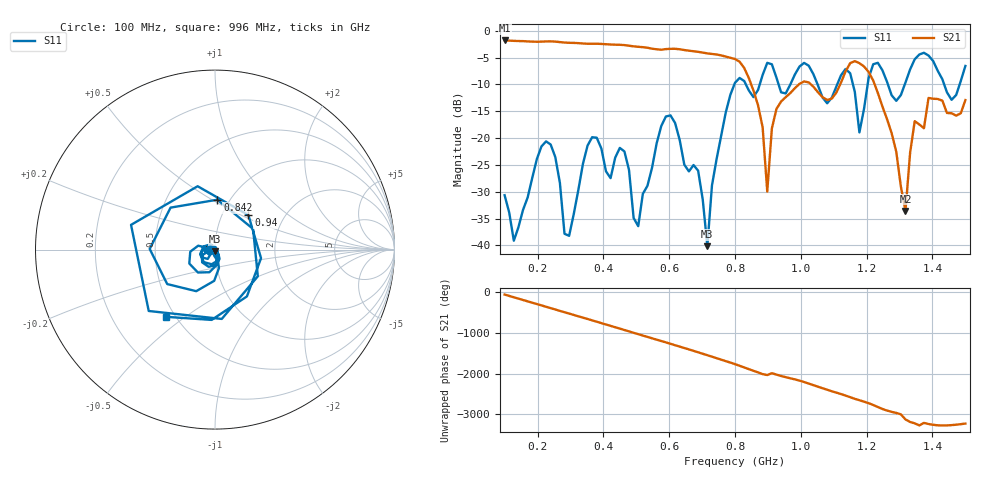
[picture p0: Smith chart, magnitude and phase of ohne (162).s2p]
! NanoVNA-App
! Date: 2025-09-25 14:22:03
! Start: 100MHz Stop: 1,5GHz Points: 101
! S-Parameter data: F S11 S21 S12 S22
# Hz S RI R 50
!  Frequency  S11_Real  S11_Imag  S21_Real  S21_Imag  S12_Real  S12_Imag  S22_Real  S22_Imag
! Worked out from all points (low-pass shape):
!   101 points, 100 MHz to 1.5 GHz, reference 50 ohm
!   highest |S21| = -1.79 dB at 100 MHz (marker M1); lowest = -33.5 dB at 1.318 GHz (marker M2)
!   |S21| within 3 dB of the highest: start of sweep to 771.8 MHz
!   lowest |S11| = -40.1 dB at 716 MHz (marker M3), VSWR 1.02, Z = 49.8 - j0.967 ohm
!   |S11| at or under -10 dB: start of sweep to 798 MHz; 833.1 MHz to 875.1 MHz (41.96 MHz wide, 4.91 % of centre); 1.051 GHz to 1.111 GHz (59.57 MHz wide, 5.51 % of centre) (the widest 3 of 7)
!   S12 and S22 are empty: the file has one direction only
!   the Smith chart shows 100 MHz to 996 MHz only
!   S11 on the Smith chart (normalised r, x): 100 MHz: 0.94, -0.01; 842 MHz: 0.88, +0.53; 940 MHz: 1.33, +0.55; 996 MHz: 0.44, -0.42
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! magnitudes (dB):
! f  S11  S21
! 100 MHz  -30.6  -1.8
! 128 MHz  -39.1  -1.9
! 226 MHz  -20.6  -2.0
! 296 MHz  -38.2  -2.2
! 338 MHz  -24.8  -2.4
! 464 MHz  -22.5  -2.7
! 506 MHz  -36.4  -3.0
! 576 MHz  -17.7  -3.5
! 688 MHz  -26.1  -3.9
! 716 MHz  -40.1  -4.2
! 800 MHz  -9.7  -5.2
! 842 MHz  -11.1  -8.8
! 898 MHz  -6.0  -30.0
! 940 MHz  -11.5  -13.2
! 996 MHz  -6.7  -9.9
! 1.038 GHz  -8.1  -10.4
! 1.178 GHz  -18.9  -6.0
! 1.22 GHz  -6.2  -9.3
! 1.276 GHz  -12.0  -19.1
! 1.318 GHz  -9.6  -33.5
! 1.346 GHz  -5.3  -16.8
! 1.5 GHz  -6.5  -12.9
